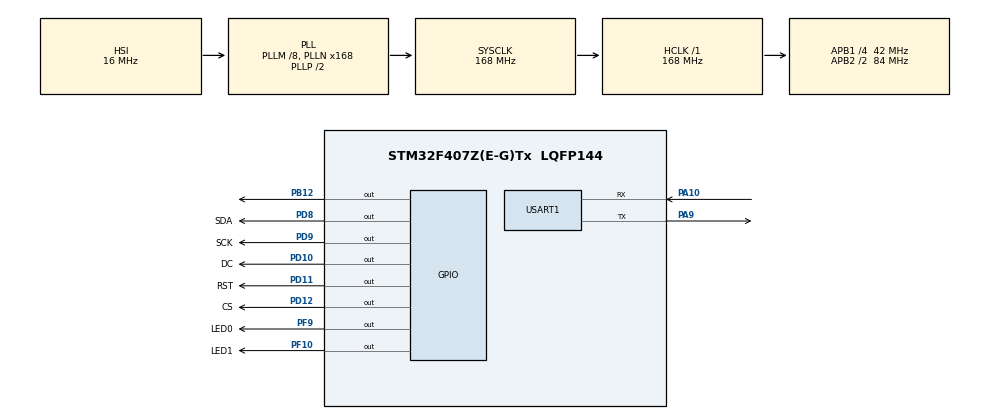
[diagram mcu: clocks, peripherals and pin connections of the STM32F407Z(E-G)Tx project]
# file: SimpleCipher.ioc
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Mcu.Family=STM32F4
Mcu.Name=STM32F407Z(E-G)Tx
Mcu.Package=LQFP144
NVIC.PriorityGroup=NVIC_PRIORITYGROUP_4
PA10.Mode=Asynchronous
PA10.Signal=USART1_RX
PA13.Mode=Serial_Wire
PA13.Signal=SYS_JTMS-SWDIO
PA14.Mode=Serial_Wire
PA14.Signal=SYS_JTCK-SWCLK
PA9.Mode=Asynchronous
PA9.Signal=USART1_TX
PB12.GPIO_ModeDefaultOutputPP=GPIO_MODE_OUTPUT_PP
PB12.GPIO_PuPd=GPIO_PULLUP
PB12.GPIO_Speed=GPIO_SPEED_FREQ_HIGH
PB12.PinState=GPIO_PIN_SET
PB12.Signal=GPIO_Output
PD10.GPIO_Label=DC 
PD10.GPIO_PuPd=GPIO_PULLUP
PD10.GPIO_Speed=GPIO_SPEED_FREQ_HIGH
PD10.PinState=GPIO_PIN_SET
PD10.Signal=GPIO_Output
PD11.GPIO_Label=RST 
PD11.GPIO_PuPd=GPIO_PULLUP
PD11.GPIO_Speed=GPIO_SPEED_FREQ_HIGH
PD11.PinState=GPIO_PIN_SET
PD11.Signal=GPIO_Output
PD12.GPIO_Label=CS 
PD12.GPIO_PuPd=GPIO_PULLUP
PD12.GPIO_Speed=GPIO_SPEED_FREQ_HIGH
PD12.PinState=GPIO_PIN_SET
PD12.Signal=GPIO_Output
PD8.GPIO_Label=SDA 
PD8.GPIO_PuPd=GPIO_PULLUP
PD8.GPIO_Speed=GPIO_SPEED_FREQ_HIGH
PD8.PinState=GPIO_PIN_SET
PD8.Signal=GPIO_Output
PD9.GPIO_Label=SCK 
PD9.GPIO_PuPd=GPIO_PULLUP
PD9.GPIO_Speed=GPIO_SPEED_FREQ_HIGH
PD9.PinState=GPIO_PIN_SET
PD9.Signal=GPIO_Output
PF10.GPIO_Label=LED1
PF10.GPIO_ModeDefaultOutputPP=GPIO_MODE_OUTPUT_OD
PF10.GPIO_PuPd=GPIO_PULLUP
PF10.PinState=GPIO_PIN_SET
PF10.Signal=GPIO_Output
PF9.GPIO_Label=LED0
PF9.GPIO_ModeDefaultOutputPP=GPIO_MODE_OUTPUT_OD
PF9.GPIO_PuPd=GPIO_PULLUP
PF9.PinState=GPIO_PIN_SET
PF9.Signal=GPIO_Output
PH0-OSC_IN.Mode=HSE-External-Oscillator
PH0-OSC_IN.Signal=RCC_OSC_IN
PH1-OSC_OUT.Mode=HSE-External-Oscillator
PH1-OSC_OUT.Signal=RCC_OSC_OUT
ProjectManager.HeapSize=0x200
ProjectManager.StackSize=0x400
ProjectManager.TargetToolchain=STM32CubeIDE
RCC.48MHZClocksFreq_Value=84000000
RCC.AHBFreq_Value=168000000
RCC.APB1CLKDivider=RCC_HCLK_DIV4
RCC.APB1Freq_Value=42000000
RCC.APB1TimFreq_Value=84000000
RCC.APB2CLKDivider=RCC_HCLK_DIV2
RCC.APB2Freq_Value=84000000
RCC.APB2TimFreq_Value=168000000
RCC.CortexFreq_Value=168000000
RCC.HCLKFreq_Value=168000000
RCC.HSE_VALUE=8000000
RCC.HSI_VALUE=16000000
RCC.LSE_VALUE=32768
RCC.PLLM=8
RCC.PLLN=168
RCC.SYSCLKFreq_VALUE=168000000
RCC.SYSCLKSource=RCC_SYSCLKSOURCE_PLLCLK
RCC.VCOOutputFreq_Value=336000000
USART1.VirtualMode=VM_ASYNC
board=custom

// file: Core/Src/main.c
/* USER CODE BEGIN Header */
/**
  ******************************************************************************
  * @file           : main.c
  * @brief          : Main program body
  ******************************************************************************
  * @attention
  *
  * Copyright (c) 2023 STMicroelectronics.
  * All rights reserved.
  *
  * This software is licensed under terms that can be found in the LICENSE file
  * in the root directory of this software component.
  * If no LICENSE file comes with this software, it is provided AS-IS.
  *
  ******************************************************************************
  */
/* USER CODE END Header */
#include "main.h"
#include "usart.h"
#include "gpio.h"

/* USER CODE BEGIN Includes */
#include <stdio.h>
#include "ds18b20.h"
#include "oled.h"
#include "des.h"
/* USER CODE END Includes */

/* USER CODE BEGIN PV */
#define PUTCHAR_PROTOTYPE int __io_putchar(int ch)

uint8_t g_uart1_transmit_buff[1];

PUTCHAR_PROTOTYPE {
    g_uart1_transmit_buff[0] = (uint8_t) ch;
    HAL_UART_Transmit(&huart1, g_uart1_transmit_buff, 1, 100);
    return ch;
}
/* USER CODE END PV */

void SystemClock_Config(void);

/* USER CODE BEGIN 0 */
void delay_us(uint32_t u_delay) {
    uint32_t start_val, tick_n, delay_n, wait_n;

    start_val = SysTick->VAL;
    tick_n = HAL_GetTick();
    // sys_clock = 168000;  // SystemCoreClock / (1000U / uwTickFreq);
    delay_n = u_delay * 168; // sys_clock / 1000 * u_delay;
    // this maybe have a bug when wait_n never equal SysTick->VAL
    if (delay_n > start_val) {
        while (HAL_GetTick() == tick_n) {
        }
        wait_n = 168000 - (delay_n - start_val);
        while (wait_n < SysTick->VAL) {}
    } else {
        wait_n = start_val - delay_n;
        while (wait_n < SysTick->VAL && HAL_GetTick() == tick_n) {
        }
    }
}
/* USER CODE END 0 */

int main(void) {

    /* MCU Configuration--------------------------------------------------------*/

    /* Reset of all peripherals, Initializes the Flash interface and the Systick. */
    HAL_Init();

    /* Configure the system clock */
    SystemClock_Config();

    /* Initialize all configured peripherals */
    MX_GPIO_Init();
    MX_USART1_UART_Init();
    /* USER CODE BEGIN 2 */

    while (DS18B20_Init()) {
        HAL_Delay(400);
    }
    OLED_Init();

    /* USER CODE END 2 */

    /* Infinite loop */
    /* USER CODE BEGIN WHILE */

    uint16_t temperature;
    uint8_t plaintext_string[30] = {0};
    uint8_t ciphertext_string[30] = {0};
    uint8_t temperature_string[30] = {0};
    uint8_t key[8] = {0x13, 0x34, 0x57, 0x79, 0x9b, 0xbc, 0xdf, 0xf1};
    uint8_t plainText[9] = {0};
    uint8_t cipherText[8] = {0};
    while (1) {
        /* USER CODE END WHILE */

        /* USER CODE BEGIN 3 */

        temperature = DS18B20_Get_Temp();

        // show temperature
        sprintf((char *) temperature_string, "Temperature:%d.%d", temperature / 10, temperature % 10);

        OLED_ShowString(10, 0, (const uint8_t *) temperature_string, 12);

        // show plain text
        sprintf((char *) plaintext_string, "%016x", temperature);
        sprintf((char *) plainText, "%08x", temperature);

        OLED_ShowString(10, 12, (const uint8_t *) "Plaintext", 12);
        OLED_ShowString(10, 24, (const uint8_t *) plaintext_string, 12);

        // show cipher text

        // clear cipherText
        for (int i = 0; i < 8; ++i) {
            cipherText[i] = 0;
        }
        // cipher
        des_encrypt(plainText, key, cipherText);

        sprintf((char *) ciphertext_string, "%02x%02x%02x%02x%02x%02x%02x%02x", cipherText[0], cipherText[1],
                cipherText[2], cipherText[3], cipherText[4], cipherText[5], cipherText[6], cipherText[7]);

        OLED_ShowString(10, 36, (const uint8_t *) "Ciphertext", 12);
        OLED_ShowString(10, 48, (const uint8_t *) ciphertext_string, 12);

        OLED_Refresh_Gram();//更新显示到OLED

        // blink
        HAL_GPIO_WritePin(LED0_GPIO_Port, LED0_Pin, GPIO_PIN_RESET);
        HAL_Delay(500);
        HAL_GPIO_WritePin(LED0_GPIO_Port, LED0_Pin, GPIO_PIN_SET);
        HAL_Delay(500);

    }
    /* USER CODE END 3 */
}

void SystemClock_Config(void) {
    RCC_OscInitTypeDef RCC_OscInitStruct = {0};
    RCC_ClkInitTypeDef RCC_ClkInitStruct = {0};

    /** Configure the main internal regulator output voltage
    */
    __HAL_RCC_PWR_CLK_ENABLE();
    __HAL_PWR_VOLTAGESCALING_CONFIG(PWR_REGULATOR_VOLTAGE_SCALE1);

    /** Initializes the RCC Oscillators according to the specified parameters
    * in the RCC_OscInitTypeDef structure.
    */
    RCC_OscInitStruct.OscillatorType = RCC_OSCILLATORTYPE_HSI;
    RCC_OscInitStruct.HSIState = RCC_HSI_ON;
    RCC_OscInitStruct.HSICalibrationValue = RCC_HSICALIBRATION_DEFAULT;
    RCC_OscInitStruct.PLL.PLLState = RCC_PLL_ON;
    RCC_OscInitStruct.PLL.PLLSource = RCC_PLLSOURCE_HSI;
    RCC_OscInitStruct.PLL.PLLM = 8;
    RCC_OscInitStruct.PLL.PLLN = 168;
    RCC_OscInitStruct.PLL.PLLP = RCC_PLLP_DIV2;
    RCC_OscInitStruct.PLL.PLLQ = 4;
    if (HAL_RCC_OscConfig(&RCC_OscInitStruct) != HAL_OK) {
        Error_Handler();
    }

    /** Initializes the CPU, AHB and APB buses clocks
    */
    RCC_ClkInitStruct.ClockType = RCC_CLOCKTYPE_HCLK | RCC_CLOCKTYPE_SYSCLK
                                  | RCC_CLOCKTYPE_PCLK1 | RCC_CLOCKTYPE_PCLK2;
    RCC_ClkInitStruct.SYSCLKSource = RCC_SYSCLKSOURCE_PLLCLK;
    RCC_ClkInitStruct.AHBCLKDivider = RCC_SYSCLK_DIV1;
    RCC_ClkInitStruct.APB1CLKDivider = RCC_HCLK_DIV4;
    RCC_ClkInitStruct.APB2CLKDivider = RCC_HCLK_DIV2;

    if (HAL_RCC_ClockConfig(&RCC_ClkInitStruct, FLASH_LATENCY_5) != HAL_OK) {
        Error_Handler();
    }
}

void Error_Handler(void) {
    __disable_irq();
    while (1) {
    }
}
